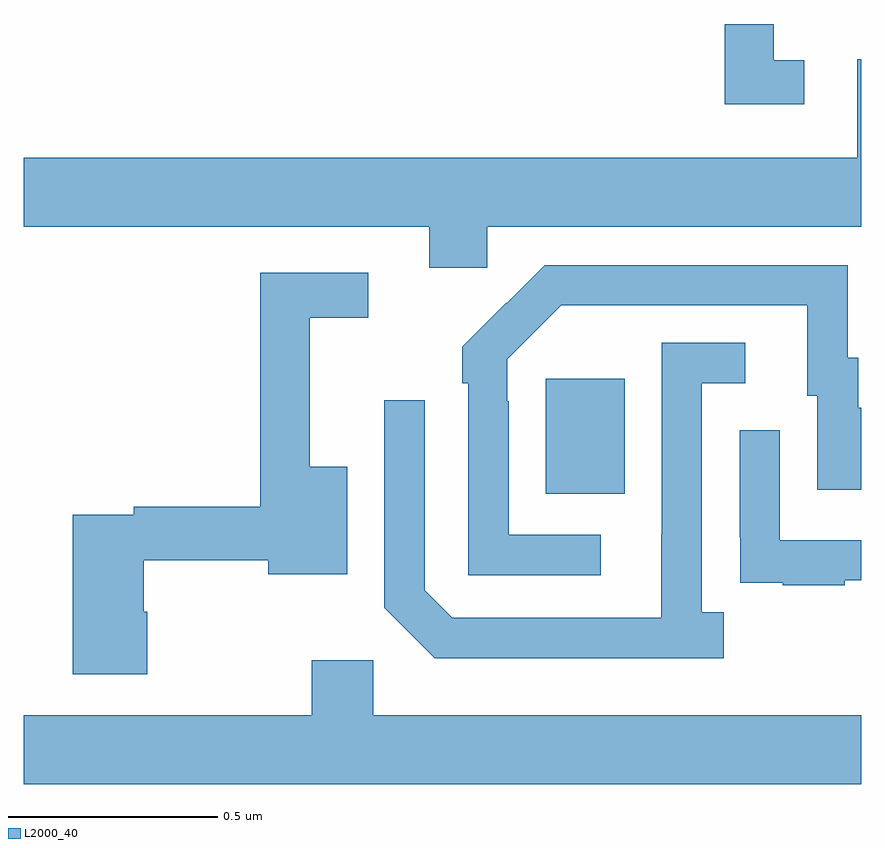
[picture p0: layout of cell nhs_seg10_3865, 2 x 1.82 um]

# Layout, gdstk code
import gdstk
lib = gdstk.Library(unit=1e-6, precision=1e-09)
def R(c, l, rs):  # rectangles x0, y0, x1, y1
    for r in rs: c.add(gdstk.rectangle(r[:2], r[2:], *l))
def P(c, l, *ps):  # polygons
    for p in ps: c.add(gdstk.Polygon(p, *l))
L2000_40 = (2000, 40)

nhs_seg10_3865 = lib.new_cell('nhs_seg10_3865')
R(nhs_seg10_3865, L2000_40, [(160.247,1266.377,160.435,1266.652)])
P(nhs_seg10_3865, L2000_40, [(160.864,1267.413),(160.791,1267.413),(160.791,1267.5),(160.675,1267.5),(160.675,1267.308),(160.864,1267.308)],
  [(160.107,1267.016),(161,1267.016),(161,1267.416),(160.991,1267.416),(160.991,1267.18),(159,1267.18),(159,1267.016),(159.968,1267.016),(159.968,1266.918),(160.107,1266.918)],
  [(160.378,1266.279),(160.158,1266.279),(160.158,1266.599),(160.155,1266.599),(160.155,1266.699),(160.284,1266.828),(160.871,1266.828),(160.871,1266.612),(160.895,1266.612),(160.895,1266.387),(161,1266.387),(161,1266.583),(160.993,1266.583),(160.993,1266.702),(160.968,1266.702),(160.968,1266.924),(160.244,1266.924),(160.153,1266.833),(160.152,1266.834),(160.047,1266.729),(160.047,1266.641),(160.062,1266.641),(160.062,1266.183),(160.378,1266.183)],
  [(159.294,1266.096),(159.286,1266.096),(159.286,1266.219),(159.584,1266.219),(159.584,1266.185),(159.772,1266.185),(159.772,1266.442),(159.683,1266.442),(159.683,1266.798),(159.823,1266.798),(159.823,1266.906),(159.565,1266.906),(159.565,1266.347),(159.262,1266.347),(159.262,1266.327),(159.116,1266.327),(159.116,1265.946),(159.294,1265.946)],
  [(160.672,1266.094),(160.62,1266.094),(160.62,1266.642),(160.723,1266.642),(160.723,1266.738),(160.524,1266.738),(160.524,1266.281),(160.523,1266.281),(160.523,1266.081),(160.023,1266.081),(159.957,1266.147),(159.957,1266.601),(159.861,1266.601),(159.861,1266.105),(159.982,1265.984),(160.672,1265.984)],
  [(160.961,1266.171),(161,1266.171),(161,1266.267),(160.806,1266.267),(160.806,1266.529),(160.71,1266.529),(160.71,1266.274),(160.711,1266.274),(160.711,1266.165),(160.813,1266.165),(160.813,1266.159),(160.961,1266.159)],
  [(161,1265.848),(159.834,1265.848),(159.834,1265.98),(159.688,1265.98),(159.688,1265.848),(159,1265.848),(159,1265.684),(161,1265.684)])

lib.write_gds('nhs_seg10_3865.gds')
